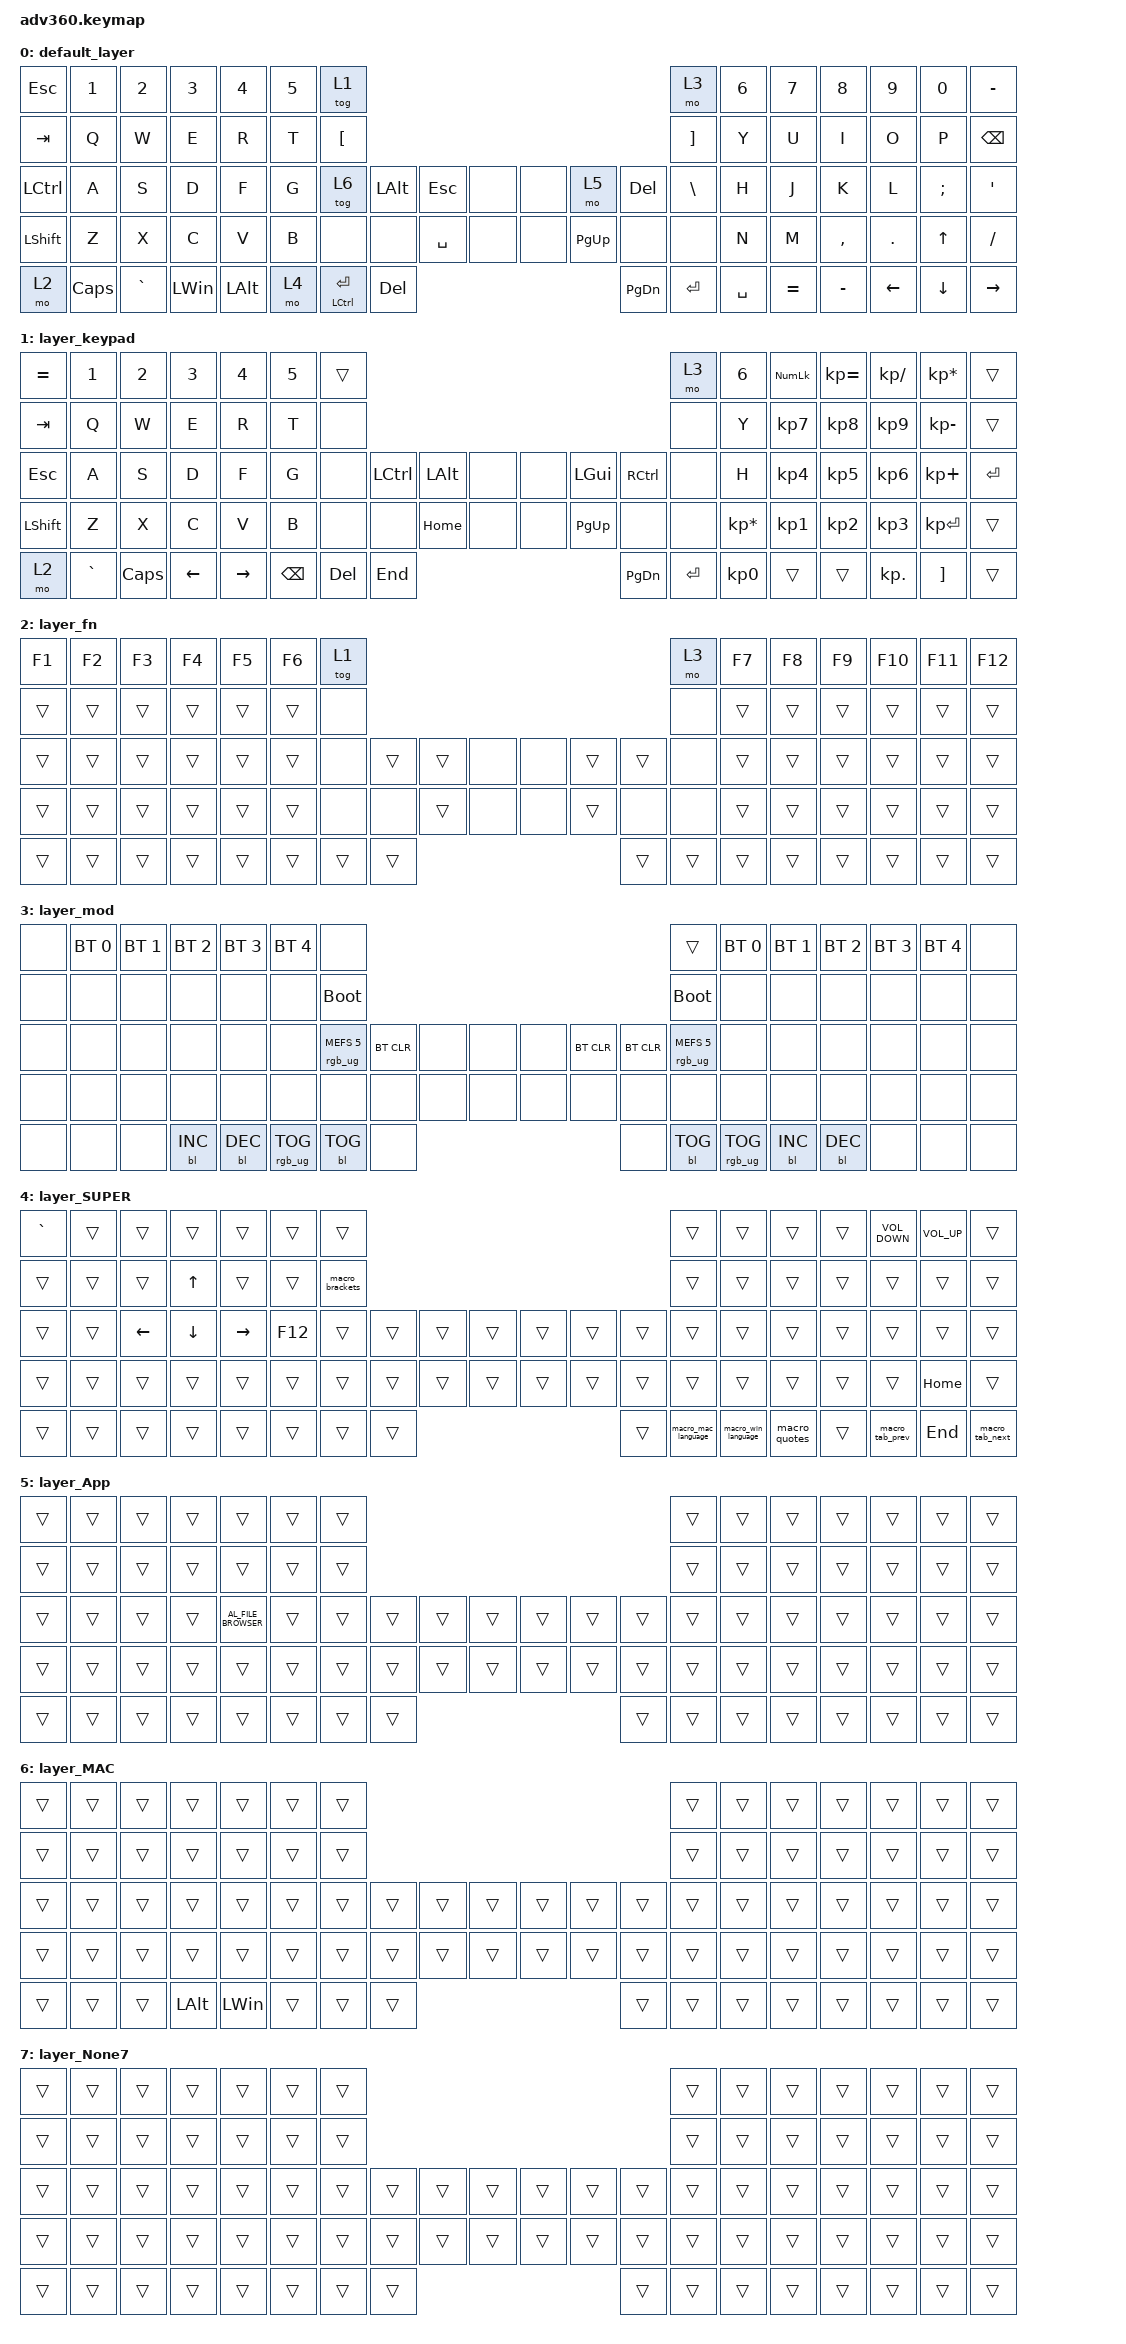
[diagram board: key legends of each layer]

/*
 * Copyright (c) 2020 The ZMK Contributors
 *
 * SPDX-License-Identifier: MIT
 */


/* THIS FILE WAS GENERATED!
 *
 * This file was generated automatically. You may or may not want to
 * edit it directly.
 */

#include <behaviors.dtsi>
#include <dt-bindings/zmk/keys.h>
#include <dt-bindings/zmk/bt.h>
#include <dt-bindings/zmk/rgb.h>
#include <dt-bindings/zmk/backlight.h>

/ {
  behaviors {
    #include "macros.dtsi"

    hm: homerow_mods {
        compatible = "zmk,behavior-hold-tap";
        label = "HOMEROW_MODS";
        #binding-cells = <2>;
        tapping-term-ms = <200>;
        quick_tap_ms = <175>;
        flavor = "tap-preferred";
        bindings = <&kp>, <&kp>;
    };
  };

    keymap {
        compatible = "zmk,keymap";


        default_layer {
            bindings = <
          &kp ESC    &kp N1     &kp N2        &kp N3        &kp N4  &kp N5                      &tog 1                                                                                  &mo 3  &kp N6     &kp N7     &kp N8          &kp N9          &kp N0        &kp MINUS
          &kp TAB     &kp Q      &kp W         &kp E         &kp R   &kp T            &kp LEFT_BRACKET                                                                      &kp RIGHT_BRACKET   &kp Y      &kp U      &kp I           &kp O           &kp P    &kp BACKSPACE
 &kp LEFT_CONTROL     &kp A      &kp S         &kp D         &kp F   &kp G                      &tog 6     &kp LEFT_ALT     &kp ESC   &none   &none      &mo 5  &kp DELETE      &kp BACKSLASH   &kp H      &kp J      &kp K           &kp L        &kp SEMI          &kp SQT
        &kp LSHFT     &kp Z      &kp X         &kp C         &kp V   &kp B                       &none            &none   &kp SPACE   &none   &none  &kp PG_UP       &none              &none   &kp N      &kp M  &kp COMMA         &kp DOT    &kp UP_ARROW         &kp FSLH
            &mo 2  &kp CAPS  &kp GRAVE  &kp LEFT_WIN  &kp LEFT_ALT                               &mo 4  &mt LCTRL ENTER  &kp DELETE                  &kp PG_DN   &kp ENTER          &kp SPACE          &kp EQUAL  &kp MINUS  &kp LEFT_ARROW  &kp DOWN_ARROW  &kp RIGHT_ARROW
            >;
        };

        layer_keypad {
            bindings = <
 &kp EQUAL     &kp N1    &kp N2    &kp N3     &kp N4  &kp N5              &trans                                                                 &mo 3           &kp N6  &kp KP_NUM  &kp KP_EQUAL  &kp KP_DIVIDE  &kp KP_MULTIPLY     &trans
   &kp TAB      &kp Q     &kp W     &kp E      &kp R   &kp T               &none                                                                 &none            &kp Y   &kp KP_N7     &kp KP_N8      &kp KP_N9     &kp KP_MINUS     &trans
   &kp ESC      &kp A     &kp S     &kp D      &kp F   &kp G               &none  &kp LCTRL  &kp LALT   &none   &none   &kp LGUI  &kp RCTRL      &none            &kp H   &kp KP_N4     &kp KP_N5      &kp KP_N6      &kp KP_PLUS  &kp ENTER
 &kp LSHFT      &kp Z     &kp X     &kp C      &kp V   &kp B               &none      &none  &kp HOME   &none   &none  &kp PG_UP      &none      &none  &kp KP_MULTIPLY   &kp KP_N1     &kp KP_N2      &kp KP_N3     &kp KP_ENTER     &trans
     &mo 2  &kp GRAVE  &kp CAPS  &kp LEFT  &kp RIGHT                    &kp BSPC    &kp DEL   &kp END                  &kp PG_DN  &kp ENTER  &kp KP_N0                       &trans        &trans     &kp KP_DOT         &kp RBKT     &trans
            >;
        };

        layer_fn {
            bindings = <
 &kp F1  &kp F2  &kp F3  &kp F4  &kp F5  &kp F6            &tog 1                                                   &mo 3  &kp F7  &kp F8  &kp F9  &kp F10  &kp F11  &kp F12
 &trans  &trans  &trans  &trans  &trans  &trans             &none                                                   &none  &trans  &trans  &trans   &trans   &trans   &trans
 &trans  &trans  &trans  &trans  &trans  &trans             &none  &trans  &trans   &none   &none  &trans  &trans   &none  &trans  &trans  &trans   &trans   &trans   &trans
 &trans  &trans  &trans  &trans  &trans  &trans             &none   &none  &trans   &none   &none  &trans   &none   &none  &trans  &trans  &trans   &trans   &trans   &trans
 &trans  &trans  &trans  &trans  &trans                    &trans  &trans  &trans                  &trans  &trans  &trans          &trans  &trans   &trans   &trans   &trans
            >;
        };

        layer_mod {
            bindings = <
  &none  &bt BT_SEL 0  &bt BT_SEL 1  &bt BT_SEL 2  &bt BT_SEL 3  &bt BT_SEL 4                             &none                                                                              &trans  &bt BT_SEL 0  &bt BT_SEL 1  &bt BT_SEL 2  &bt BT_SEL 3  &bt BT_SEL 4   &none
  &none         &none         &none         &none         &none         &none                       &bootloader                                                                         &bootloader         &none         &none         &none         &none         &none   &none
  &none         &none         &none         &none         &none         &none            &rgb_ug RGB_MEFS_CMD 5  &bt BT_CLR   &none   &none   &none  &bt BT_CLR  &bt BT_CLR  &rgb_ug RGB_MEFS_CMD 5         &none         &none         &none         &none         &none   &none
  &none         &none         &none         &none         &none         &none                             &none       &none   &none   &none   &none       &none       &none                   &none         &none         &none         &none         &none         &none   &none
  &none         &none         &none    &bl BL_INC    &bl BL_DEC                                 &rgb_ug RGB_TOG  &bl BL_TOG   &none                       &none  &bl BL_TOG         &rgb_ug RGB_TOG                  &bl BL_INC    &bl BL_DEC         &none         &none   &none
            >;
        };

        layer_SUPER {
            bindings = <
 &kp GRAVE  &trans          &trans          &trans           &trans   &trans                     &trans                                                                            &trans  &trans         &trans  &trans  &kp C_VOLUME_DOWN  &kp C_VOLUME_UP           &trans
    &trans  &trans          &trans    &kp UP_ARROW           &trans   &trans            &macro_brackets                                                                            &trans  &trans         &trans  &trans             &trans           &trans           &trans
    &trans  &trans  &kp LEFT_ARROW  &kp DOWN_ARROW  &kp RIGHT_ARROW  &kp F12                     &trans  &trans  &trans  &trans  &trans  &trans               &trans               &trans  &trans         &trans  &trans             &trans           &trans           &trans
    &trans  &trans          &trans          &trans           &trans   &trans                     &trans  &trans  &trans  &trans  &trans  &trans               &trans               &trans  &trans         &trans  &trans             &trans         &kp HOME           &trans
    &trans  &trans          &trans          &trans           &trans                              &trans  &trans  &trans                  &trans  &macro_mac_language  &macro_win_language          &macro_quotes  &trans    &macro_tab_prev          &kp END  &macro_tab_next
            >;
        };

        layer_App {
            bindings = <
 &trans  &trans  &trans  &trans                 &trans  &trans            &trans                                                  &trans  &trans  &trans  &trans  &trans  &trans  &trans
 &trans  &trans  &trans  &trans                 &trans  &trans            &trans                                                  &trans  &trans  &trans  &trans  &trans  &trans  &trans
 &trans  &trans  &trans  &trans  &kp C_AL_FILE_BROWSER  &trans            &trans  &trans  &trans  &trans  &trans  &trans  &trans  &trans  &trans  &trans  &trans  &trans  &trans  &trans
 &trans  &trans  &trans  &trans                 &trans  &trans            &trans  &trans  &trans  &trans  &trans  &trans  &trans  &trans  &trans  &trans  &trans  &trans  &trans  &trans
 &trans  &trans  &trans  &trans                 &trans                    &trans  &trans  &trans                  &trans  &trans  &trans          &trans  &trans  &trans  &trans  &trans
            >;
        };

        layer_MAC {
            bindings = <
 &trans  &trans  &trans        &trans        &trans  &trans            &trans                                                  &trans  &trans  &trans  &trans  &trans  &trans  &trans
 &trans  &trans  &trans        &trans        &trans  &trans            &trans                                                  &trans  &trans  &trans  &trans  &trans  &trans  &trans
 &trans  &trans  &trans        &trans        &trans  &trans            &trans  &trans  &trans  &trans  &trans  &trans  &trans  &trans  &trans  &trans  &trans  &trans  &trans  &trans
 &trans  &trans  &trans        &trans        &trans  &trans            &trans  &trans  &trans  &trans  &trans  &trans  &trans  &trans  &trans  &trans  &trans  &trans  &trans  &trans
 &trans  &trans  &trans  &kp LEFT_ALT  &kp LEFT_WIN                    &trans  &trans  &trans                  &trans  &trans  &trans          &trans  &trans  &trans  &trans  &trans
            >;
        };

        layer_None7 {
            bindings = <
 &trans  &trans  &trans  &trans  &trans  &trans            &trans                                                  &trans  &trans  &trans  &trans  &trans  &trans  &trans
 &trans  &trans  &trans  &trans  &trans  &trans            &trans                                                  &trans  &trans  &trans  &trans  &trans  &trans  &trans
 &trans  &trans  &trans  &trans  &trans  &trans            &trans  &trans  &trans  &trans  &trans  &trans  &trans  &trans  &trans  &trans  &trans  &trans  &trans  &trans
 &trans  &trans  &trans  &trans  &trans  &trans            &trans  &trans  &trans  &trans  &trans  &trans  &trans  &trans  &trans  &trans  &trans  &trans  &trans  &trans
 &trans  &trans  &trans  &trans  &trans                    &trans  &trans  &trans                  &trans  &trans  &trans          &trans  &trans  &trans  &trans  &trans
            >;
        };

    };
};
